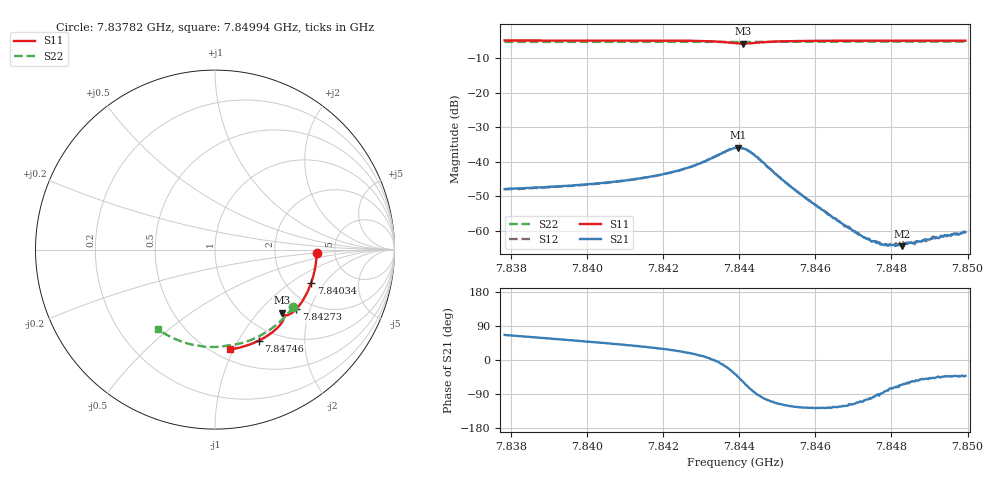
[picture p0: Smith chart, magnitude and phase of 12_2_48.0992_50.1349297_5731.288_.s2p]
#  HZ  S  RI  R  50.00
! Rohde & Schwarz Vector Network Analyzer
! Rohde-Schwarz,ZNB20-2Port,1311601062101988,3.16
! Created: UTC 12/23/2023, 3:35:45 AM
! freq[Hz]  re:S11  im:S11  re:S21  im:S21  re:S12  im:S12  re:S22  im:S22
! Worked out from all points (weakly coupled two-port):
!   401 points, 7.83782 GHz to 7.84994 GHz, reference 50 ohm
!   highest |S21| = -35.88 dB at 7.84397 GHz (marker M1); lowest = -64.4 dB at 7.84828 GHz (marker M2)
!   lowest |S11| = -5.8 dB at 7.8441 GHz (marker M3), VSWR 3.10, Z = 71.1 - j67.8 ohm
!   |S11| at or under -10 dB: nowhere
!   |S22| runs from -5.4 to -5.3 dB; largest |S21 - S12| = 0.00035
!   S11 on the Smith chart (normalised r, x): 7.83782 GHz: 3.60, -0.21; 7.84034 GHz: 2.72, -1.48; 7.84273 GHz: 1.67, -1.62; 7.84746 GHz: 0.82, -1.22; 7.84994 GHz: 0.59, -0.97
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7.837822e9  0.5664 -0.0201  0.00162 0.0037  0.00166 0.00362  0.4357 -0.319
7.839853e9  0.5458 -0.1539  0.00302 0.00357  0.00299 0.00353  0.338 -0.4221
7.840338e9  0.536 -0.1851  0.00342 0.00352  0.00339 0.00351  0.3109 -0.4426
7.841883e9  0.4905 -0.2814  0.00556 0.00326  0.00553 0.00325  0.2167 -0.4964
7.842732e9  0.4529 -0.3315  0.00816 0.00256  0.00809 0.00259  0.1607 -0.5171
7.843429e9  0.407 -0.3643  0.0123 -0.00086  0.0125 -0.00101  0.113 -0.5286
7.843883e9  0.3732 -0.3608  0.0127 -0.00956  0.0128 -0.00947  0.0826 -0.5328
7.843974e9  0.3705 -0.3566  0.0113 -0.0114  0.0112 -0.0113  0.0769 -0.5332
7.844095e9  0.3715 -0.352  0.00837 -0.0133  0.0082 -0.0133  0.0692 -0.5345
7.844429e9  0.3833 -0.3584  0.000497 -0.012  0.000501 -0.0121  0.0482 -0.5383
7.845156e9  0.3704 -0.4094  -0.00255 -0.00471  -0.00256 -0.00472  -0.003 -0.5428
7.845914e9  0.3325 -0.4502  -0.00151 -0.00206  -0.00155 -0.00206  -0.0566 -0.5409
7.846762e9  0.2842 -0.4849  -0.000599 -0.001  -0.000627 -0.00107  -0.1155 -0.5318
7.847217e9  0.2573 -0.5003  -0.000295 -0.000795  -0.000273 -0.000803  -0.1465 -0.5246
7.847459e9  0.2427 -0.5077  -0.000147 -0.000695  -0.000144 -0.000716  -0.1631 -0.5199
7.847732e9  0.2259 -0.5157  2.07e-05 -0.000643  4.77e-05 -0.00064  -0.1812 -0.5138
7.847944e9  0.2127 -0.5214  0.000155 -0.000613  0.000146 -0.00061  -0.1952 -0.5088
7.848277e9  0.1919 -0.5293  0.000254 -0.000548  0.000284 -0.000598  -0.2172 -0.5001
7.848641e9  0.1688 -0.5372  0.000404 -0.00055  0.000391 -0.00059  -0.2403 -0.4898
7.849065e9  0.1414 -0.5449  0.000524 -0.000567  0.00056 -0.000573  -0.2666 -0.4761
7.84952e9  0.1118 -0.5516  0.000632 -0.000589  0.000635 -0.000574  -0.2941 -0.46
7.849944e9  0.084 -0.5564  0.000713 -0.000635  0.000731 -0.000649  -0.3188 -0.4434
